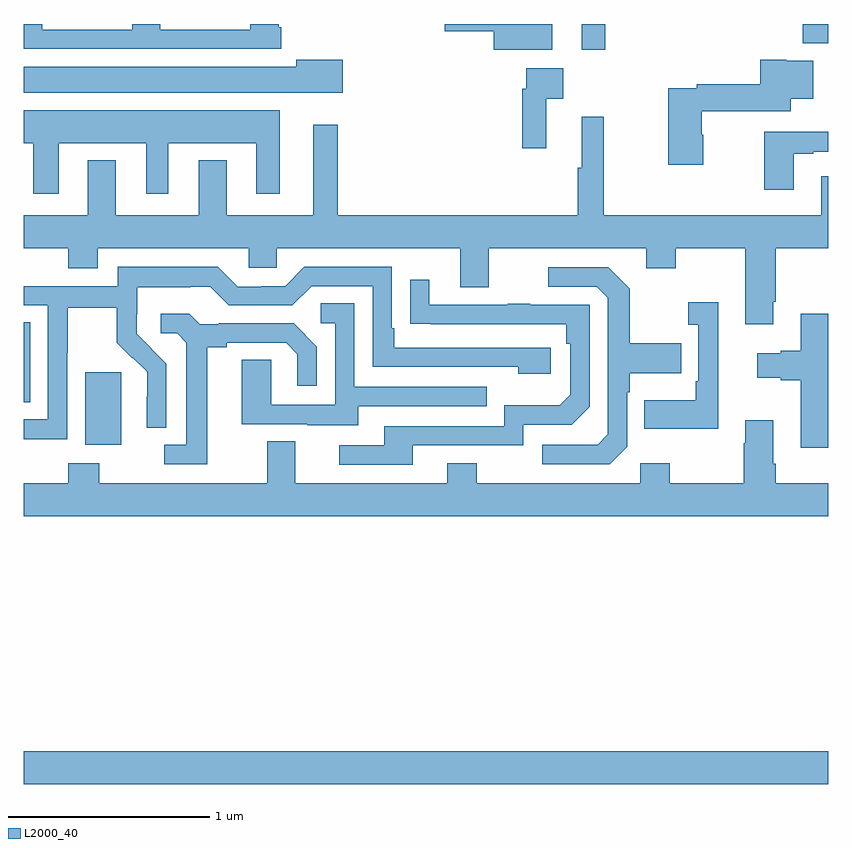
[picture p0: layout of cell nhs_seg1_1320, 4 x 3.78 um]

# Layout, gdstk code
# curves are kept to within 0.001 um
import gdstk
lib = gdstk.Library(unit=1e-6, precision=1e-09)
def R(c, l, rs):  # rectangles x0, y0, x1, y1
    for r in rs: c.add(gdstk.rectangle(r[:2], r[2:], *l))
def P(c, l, *ps):  # polygons
    for p in ps: c.add(gdstk.Polygon(p, *l))
L2000_40 = (2000, 40)

nhs_seg1_1320 = lib.new_cell('nhs_seg1_1320')
R(nhs_seg1_1320, L2000_40, [(183,530.42,187,530.584), (183.305,532.106,183.484,532.467), (183,532.318,183.031,532.715), (185.774,534.072,185.891,534.199), (186.874,534.104,187,534.199)])
P(nhs_seg1_1320, L2000_40, [(185.629,534.199),(185.094,534.199),(185.094,534.164),(185.336,534.164),(185.336,534.071),(185.629,534.071)],
  [(184.28,534.183),(184.267,534.183),(184.267,534.199),(184.127,534.199),(184.127,534.171),(183.679,534.171),(183.679,534.199),(183.539,534.199),(183.539,534.171),(183.091,534.171),(183.091,534.199),(183,534.199),(183,534.075),(184.28,534.075)],
  [(184.585,534.022),(184.355,534.022),(184.355,533.986),(183,533.986),(183,533.858),(184.585,533.858)],
  [(186.378,533.649),(186.37,533.649),(186.37,533.764),(186.814,533.764),(186.814,533.828),(186.925,533.828),(186.925,534.016),(186.792,534.016),(186.792,534.022),(186.662,534.022),(186.662,533.9),(186.346,533.9),(186.346,533.88),(186.205,533.88),(186.205,533.499),(186.378,533.499)],
  [(185.597,533.828),(185.683,533.828),(185.683,533.98),(185.499,533.98),(185.499,533.876),(185.479,533.876),(185.479,533.58),(185.597,533.58)],
  [(183.175,533.606),(183.608,533.606),(183.608,533.355),(183.718,533.355),(183.718,533.606),(184.157,533.606),(184.157,533.355),(184.273,533.355),(184.273,533.77),(183,533.77),(183,533.606),(183.047,533.606),(183.047,533.355),(183.175,533.355)],
  [(186.727,532.819),(186.74,532.819),(186.74,533.084),(187,533.084),(187,533.443),(186.965,533.443),(186.965,533.248),(185.884,533.248),(185.884,533.737),(185.774,533.737),(185.774,533.484),(185.755,533.484),(185.755,533.248),(184.561,533.248),(184.561,533.698),(184.439,533.698),(184.439,533.248),(184.009,533.248),(184.009,533.521),(183.869,533.521),(183.869,533.248),(183.457,533.248),(183.457,533.521),(183.317,533.521),(183.317,533.248),(183,533.248),(183,533.084),(183.22,533.084),(183.22,532.985),(183.367,532.985),(183.367,533.084),(184.119,533.084),(184.119,532.986),(184.257,532.986),(184.257,533.084),(185.171,533.084),(185.171,532.89),(185.311,532.89),(185.311,533.084),(186.095,533.084),(186.095,532.985),(186.243,532.985),(186.243,533.084),(186.587,533.084),(186.587,532.707),(186.727,532.707)],
  [(186.829,533.553),(186.925,533.553),(186.925,533.565),(187,533.565),(187,533.662),(186.682,533.662),(186.682,533.376),(186.829,533.376)],
  [(183.216,532.564),(183.219,532.564),(183.219,532.788),(183.463,532.788),(183.463,532.613),(183.54,532.536),(183.543,532.539),(183.614,532.469),(183.614,532.346),(183.612,532.346),(183.612,532.192),(183.708,532.192),(183.708,532.51),(183.562,532.658),(183.562,532.755),(183.564,532.755),(183.564,532.889),(183.827,532.889),(183.827,532.893),(183.927,532.893),(184.02,532.8),(184.335,532.8),(184.431,532.896),(184.734,532.896),(184.734,532.494),(185.459,532.494),(185.459,532.46),(185.62,532.46),(185.62,532.59),(184.843,532.59),(184.843,532.687),(184.83,532.687),(184.83,532.992),(184.395,532.992),(184.299,532.896),(184.181,532.896),(184.181,532.893),(184.065,532.893),(183.965,532.993),(183.468,532.993),(183.468,532.896),(183,532.896),(183,532.8),(183.12,532.8),(183.12,532.233),(183,532.233),(183,532.135),(183.216,532.135)],
  [(186,532.098),(186,532.367),(186.013,532.367),(186.013,532.463),(186.269,532.463),(186.269,532.611),(186.013,532.611),(186.013,532.883),(185.907,532.989),(185.607,532.989),(185.607,532.893),(185.85,532.893),(185.904,532.839),(185.904,532.158),(185.853,532.107),(185.577,532.107),(185.577,532.011),(185.913,532.011)],
  [(184.933,532.104),(185.484,532.104),(185.484,532.206),(185.724,532.206),(185.814,532.296),(185.814,532.803),(185.519,532.803),(185.519,532.808),(185.407,532.808),(185.407,532.803),(185.017,532.803),(185.017,532.927),(184.921,532.927),(184.921,532.708),(185.698,532.707),(185.698,532.61),(185.718,532.61),(185.718,532.356),(185.665,532.303),(185.388,532.303),(185.388,532.2),(184.793,532.2),(184.793,532.104),(184.569,532.104),(184.569,532.008),(184.933,532.008)],
  [(186.452,532.816),(186.303,532.816),(186.303,532.703),(186.354,532.703),(186.354,532.423),(186.342,532.423),(186.342,532.327),(186.085,532.327),(186.085,532.187),(186.452,532.187)],
  [(184.663,532.299),(185.303,532.299),(185.303,532.395),(184.644,532.395),(184.644,532.811),(184.476,532.811),(184.476,532.71),(184.548,532.71),(184.548,532.305),(184.23,532.305),(184.23,532.529),(184.085,532.529),(184.085,532.209),(184.409,532.209),(184.409,532.205),(184.663,532.205)],
  [(183.913,532.592),(184.009,532.592),(184.009,532.614),(184.304,532.614),(184.361,532.557),(184.361,532.401),(184.458,532.401),(184.458,532.594),(184.342,532.71),(183.97,532.71),(183.97,532.707),(183.876,532.707),(183.824,532.759),(183.681,532.759),(183.681,532.662),(183.762,532.662),(183.809,532.615),(183.809,532.107),(183.699,532.107),(183.699,532.011),(183.913,532.011)],
  [(187,532.759),(186.863,532.759),(186.863,532.574),(186.764,532.574),(186.764,532.561),(186.648,532.561),(186.648,532.439),(186.764,532.439),(186.764,532.427),(186.863,532.427),(186.863,532.092),(187,532.092)],
  [(187,531.916),(186.74,531.916),(186.74,532.012),(186.727,532.012),(186.727,532.228),(186.587,532.228),(186.587,532.115),(186.58,532.115),(186.58,531.916),(186.213,531.916),(186.213,532.015),(186.066,532.015),(186.066,531.916),(185.253,531.916),(185.253,532.015),(185.105,532.015),(185.105,531.916),(184.351,531.916),(184.351,532.124),(184.211,532.124),(184.211,531.916),(183.375,531.916),(183.375,532.015),(183.22,532.015),(183.22,531.916),(183,531.916),(183,531.752),(187,531.752)])

lib.write_gds('nhs_seg1_1320.gds')
